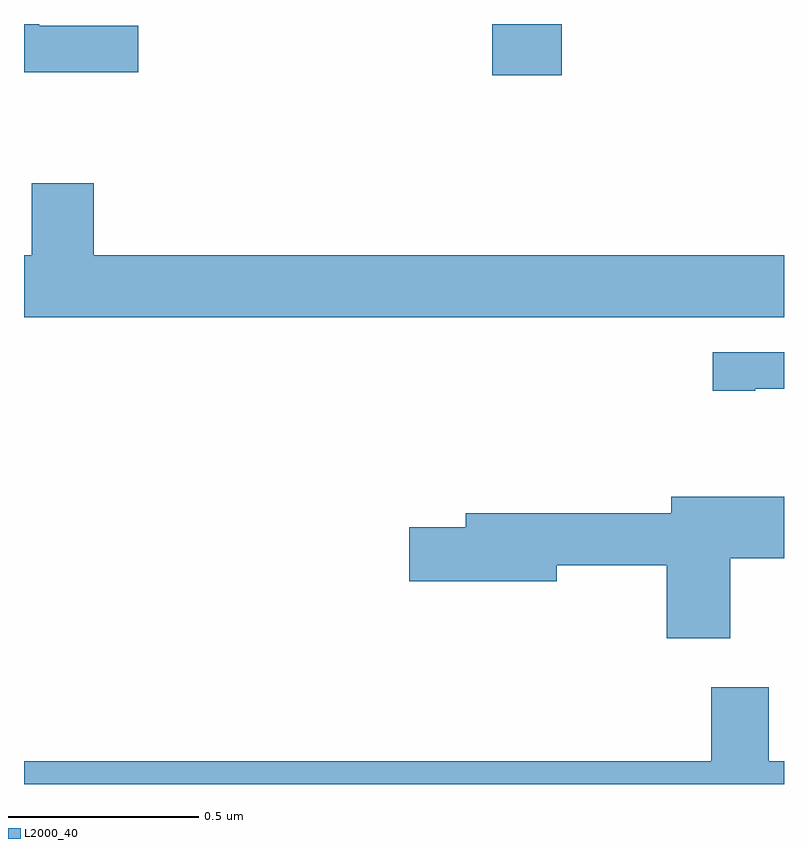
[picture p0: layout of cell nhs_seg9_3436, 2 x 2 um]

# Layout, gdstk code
import gdstk
lib = gdstk.Library(unit=1e-6, precision=1e-09)
def R(c, l, rs):  # rectangles x0, y0, x1, y1
    for r in rs: c.add(gdstk.rectangle(r[:2], r[2:], *l))
def P(c, l, *ps):  # polygons
    for p in ps: c.add(gdstk.Polygon(p, *l))
L2000_40 = (2000, 40)

nhs_seg9_3436 = lib.new_cell('nhs_seg9_3436')
R(nhs_seg9_3436, L2000_40, [(154.232,1222.365,154.415,1222.5)])
P(nhs_seg9_3436, L2000_40, [(153.301,1222.495),(153.04,1222.495),(153.04,1222.5),(153,1222.5),(153,1222.373),(153.301,1222.373)],
  [(155,1221.892),(153.184,1221.892),(153.184,1222.081),(153.02,1222.081),(153.02,1221.892),(153,1221.892),(153,1221.728),(155,1221.728)],
  [(154.924,1221.54),(155,1221.54),(155,1221.636),(154.812,1221.636),(154.812,1221.535),(154.924,1221.535)],
  [(154.858,1221.094),(155,1221.094),(155,1221.256),(154.703,1221.256),(154.703,1221.212),(154.163,1221.212),(154.163,1221.176),(154.014,1221.176),(154.014,1221.034),(154.402,1221.034),(154.402,1221.076),(154.691,1221.076),(154.691,1220.883),(154.858,1220.883)],
  [(155,1220.56),(154.96,1220.56),(154.96,1220.755),(154.808,1220.755),(154.808,1220.56),(153,1220.56),(153,1220.5),(155,1220.5)])

lib.write_gds('nhs_seg9_3436.gds')
